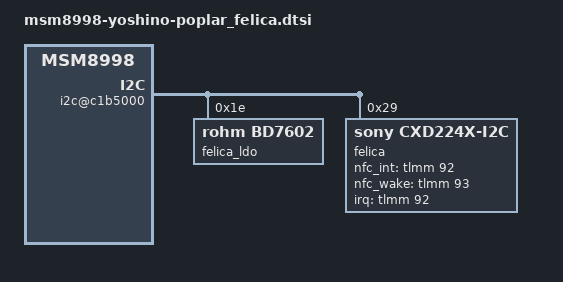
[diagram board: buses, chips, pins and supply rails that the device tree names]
/* arch/arm64/boot/dts/qcom/msm8998-yoshino-poplar_felica.dtsi
 *
 * This program is free software; you can redistribute it and/or modify
 * it under the terms of the GNU General Public License version 2 and
 * only version 2 as published by the Free Software Foundation.
 *
 * This program is distributed in the hope that it will be useful,
 * but WITHOUT ANY WARRANTY; without even the implied warranty of
 * MERCHANTABILITY or FITNESS FOR A PARTICULAR PURPOSE.  See the
 * GNU General Public License for more details.
 */
/*
 * Copyright (C) 2016 Sony Mobile Communications Inc.
 *
 * This program is free software; you can redistribute it and/or modify
 * it under the terms of the GNU General Public License version 2, as
 * published by the Free Software Foundation.
 */

/*
 * Sony CXD224x FeliCa controller of the Japanese variants. It shares the I2C
 * bus and GPIOs with the NXP PN553 of the global variants; both are described
 * and only the driver matching the hardware gets loaded.
 */

&soc {
	/* I2C: BLSP7 */
	i2c@c1b5000 { /* BLSP2 QUP1 */
		felica_ldo@1e {
			compatible = "rohm,bd7602";
			reg = <0x1e>;
		};
		felica@29 {
			compatible = "sony,cxd224x-i2c";
			reg = <0x29>;
			interrupt-parent = <&tlmm>;
			interrupts = <92 0x2002>;
			sony,nfc_int = <&tlmm 92 0>;
			sony,nfc_wake= <&tlmm 93 0>;

			pinctrl-names = "felica_active","felica_suspend";
			pinctrl-0 = <&msm_gpio_92_felica>;
			pinctrl-1 = <&msm_gpio_92_felica>;

			/* Defined in Clock Distribution */
			clocks = <&clock_rpmcc RPM_SMD_LN_BB_CLK3_PIN>;
			clock-names = "felica_clk";
		};
	};

	felica,pm-ops {
		compatible = "sony,cxd224x-pm-ops";
	};
};

&tlmm {
	/* GPIO_92 : NFC_IRQ_FELICA_INT_N */
	msm_gpio_92_felica: msm_gpio_92_felica {
		mux {
			pins = "gpio92";
			function = "gpio";
		};

		config {
			pins = "gpio92";
			drive-strength = <2>;
			bias-disable;
			input-enable;
		};
	};
};
